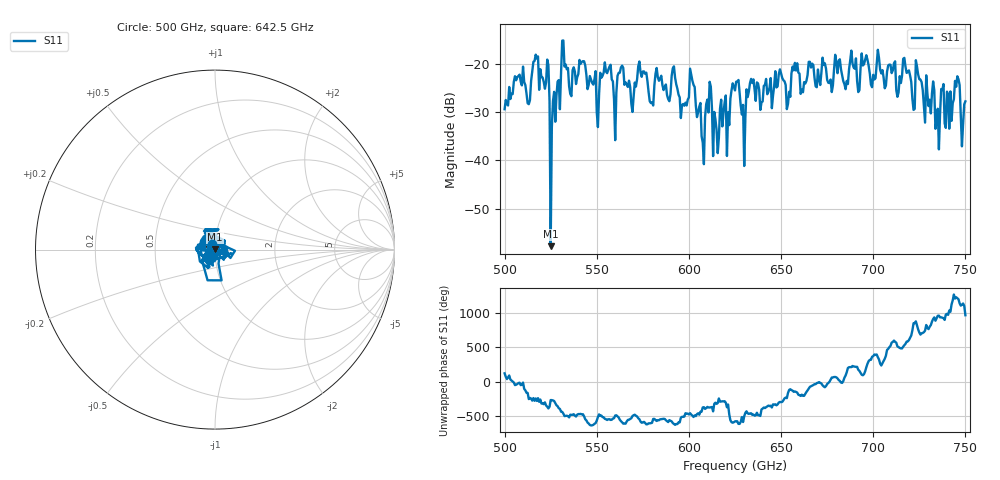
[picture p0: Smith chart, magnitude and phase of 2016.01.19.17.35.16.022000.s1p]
!Created with skrf (http://scikit-rf.org).
# GHz S RI R 50.0
!freq ReS11 ImS11
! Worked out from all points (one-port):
!   401 points, 500 GHz to 750 GHz, reference 50 ohm
!   lowest |S11| = -57.8 dB at 525 GHz (marker M1), VSWR 1.00, Z = 50 + j0.128 ohm
!   |S11| at or under -10 dB: start of sweep to end of sweep
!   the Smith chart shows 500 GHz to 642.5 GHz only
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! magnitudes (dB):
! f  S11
! 500 GHz  -29.4
! 506.9 GHz  -22.7
! 513.1 GHz  -28.3
! 516.9 GHz  -18.0
! 523.1 GHz  -19.1
! 525 GHz  -57.8
! 526.2 GHz  -27.7
! 531.2 GHz  -15.1
! 550 GHz  -30.0
! 556.2 GHz  -21.2
! 559.4 GHz  -27.4
! 562.5 GHz  -21.8
! 593.8 GHz  -25.1
! 596.9 GHz  -28.3
! 601.9 GHz  -23.4
! 607.5 GHz  -36.3
! 611.2 GHz  -23.7
! 614.4 GHz  -31.4
! 625 GHz  -25.5
! 629.4 GHz  -28.5
! 633.8 GHz  -23.1
! 653.8 GHz  -28.3
! 656.2 GHz  -20.5
! 687.5 GHz  -19.2
! 718.8 GHz  -21.7
! 735 GHz  -29.3
! 745.6 GHz  -22.5
! 750 GHz  -27.7
